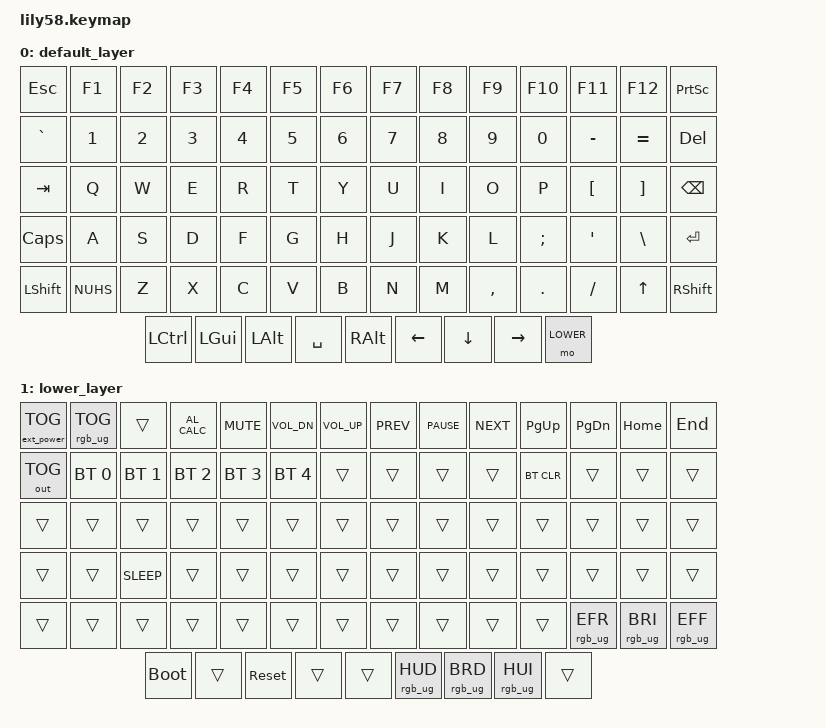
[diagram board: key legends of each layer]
/*
 * Copyright (c) 2020 Pete Johanson
 *
 * SPDX-License-Identifier: MIT
 */

 #include <behaviors.dtsi>
 #include <dt-bindings/zmk/keys.h>
 #include <dt-bindings/zmk/bt.h>
 #include <dt-bindings/zmk/rgb.h>
 #include <dt-bindings/zmk/outputs.h>
 #include <dt-bindings/zmk/ext_power.h>
 
 #define DEFAULT  0
 #define LOWER    1
 
 / {
     keymap {
         compatible = "zmk,keymap";
 
         default_layer {
             bindings = <
     &kp ESC  &kp F1 &kp F2 &kp F3 &kp F4 &kp F5 &kp F6 &kp F7 &kp F8 &kp F9 &kp F10 &kp F11 &kp F12  &kp PSCRN 
     &kp GRAVE  &kp N1 &kp N2 &kp N3 &kp N4 &kp N5 &kp N6 &kp N7 &kp N8 &kp N9 &kp N0 &kp MINUS &kp EQUAL  &kp DEL
     &kp TAB  &kp Q  &kp W  &kp E  &kp R  &kp T  &kp Y  &kp U  &kp I  &kp O  &kp P  &kp LBKT  &kp RBKT  &kp BKSP
     &kp CLCK  &kp A  &kp S  &kp D  &kp F  &kp G  &kp H  &kp J  &kp K  &kp L  &kp SEMI &kp SQT &kp BSLH &kp ENTER
     &kp LSHFT &kp NUHS &kp Z  &kp X  &kp C  &kp V  &kp B  &kp N  &kp M  &kp COMMA &kp DOT &kp FSLH  &kp UP &kp RSHFT
     &kp LCTRL &kp LGUI &kp LALT             &kp SPACE                     &kp RALT &kp LEFT &kp DOWN &kp RIGHT &mo LOWER
             >;
         };
 
         lower_layer {
             bindings = <
     &ext_power EP_TOG   &rgb_ug RGB_TOG &trans &kp C_AL_CALC &kp C_MUTE  &kp C_VOL_DN  &kp C_VOL_UP  &kp C_PREV &kp C_PAUSE &kp C_NEXT   &kp PG_UP   &kp PG_DN  &kp HOME &kp END  
     &out OUT_TOG   &bt BT_SEL 0    &bt BT_SEL 1    &bt BT_SEL 2  &bt BT_SEL 3 &bt BT_SEL 4 &trans &trans  &trans &trans &bt BT_CLR  &trans &trans  &trans
     &trans  &trans  &trans  &trans  &trans  &trans &trans &trans  &trans   &trans   &trans   &trans  &trans &trans 
     &trans  &trans  &kp K_SLEEP  &trans  &trans  &trans &trans &trans  &trans   &trans   &trans   &trans  &trans &trans
     &trans  &trans  &trans  &trans  &trans  &trans &trans &trans  &trans   &trans   &trans   &rgb_ug RGB_EFR  &rgb_ug RGB_BRI  &rgb_ug RGB_EFF
     &bootloader  &trans   &sys_reset                            &trans         &trans    &rgb_ug RGB_HUD    &rgb_ug RGB_BRD  &rgb_ug RGB_HUI   &trans
             >;
         };
     };
 };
